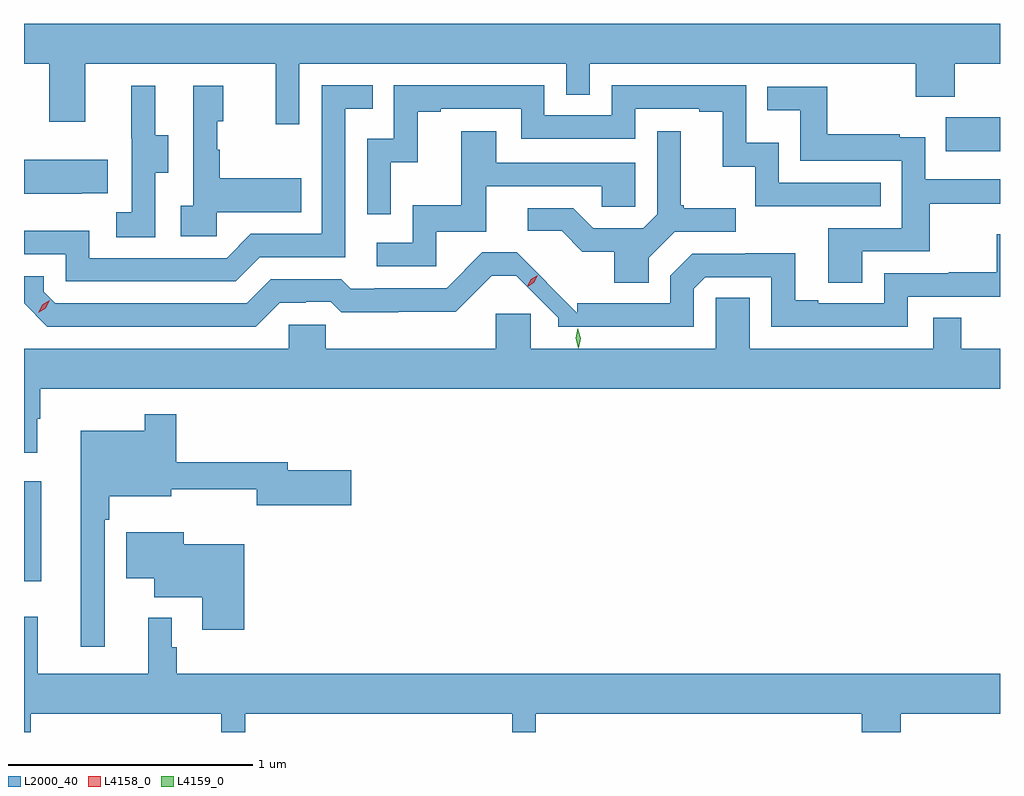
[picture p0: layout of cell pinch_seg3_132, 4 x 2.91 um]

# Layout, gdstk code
import gdstk
lib = gdstk.Library(unit=1e-6, precision=1e-09)
def R(c, l, rs):  # rectangles x0, y0, x1, y1
    for r in rs: c.add(gdstk.rectangle(r[:2], r[2:], *l))
def P(c, l, *ps):  # polygons
    for p in ps: c.add(gdstk.Polygon(p, *l))
L2000_40 = (2000, 40)
L4158_0 = (4158, 0)
L4159_0 = (4159, 0)

pinch_seg3_132 = lib.new_cell('pinch_seg3_132')
R(pinch_seg3_132, L2000_40, [(1127.205,708.119,1127.275,708.529)])
P(pinch_seg3_132, L2000_40, [(1128.333,710.24),(1129.428,710.24),(1129.428,710.113),(1129.524,710.113),(1129.524,710.24),(1130.86,710.24),(1130.86,710.105),(1131.02,710.105),(1131.02,710.24),(1131.205,710.24),(1131.205,710.404),(1127.205,710.404),(1127.205,710.24),(1127.308,710.24),(1127.308,710.001),(1127.455,710.001),(1127.455,710.24),(1128.236,710.24),(1128.236,709.992),(1128.333,709.992)],
  [(1128.172,709.446),(1128.522,709.446),(1128.522,710.055),(1128.635,710.055),(1128.635,710.151),(1128.426,710.151),(1128.426,709.542),(1128.135,709.542),(1128.036,709.443),(1127.472,709.443),(1127.472,709.555),(1127.205,709.555),(1127.205,709.458),(1127.376,709.458),(1127.376,709.347),(1128.073,709.347)],
  [(1128.708,709.835),(1128.818,709.835),(1128.818,710.043),(1128.913,710.043),(1128.913,710.055),(1129.242,710.055),(1129.242,709.932),(1129.71,709.932),(1129.71,710.055),(1129.973,710.055),(1129.973,710.043),(1130.069,710.043),(1130.069,709.817),(1130.202,709.817),(1130.202,709.656),(1130.717,709.656),(1130.717,709.752),(1130.298,709.752),(1130.298,709.915),(1130.166,709.915),(1130.166,710.151),(1129.614,710.151),(1129.614,710.028),(1129.338,710.028),(1129.338,710.151),(1128.72,710.151),(1128.72,709.932),(1128.612,709.932),(1128.612,709.623),(1128.708,709.623)],
  [(1127.742,709.792),(1127.797,709.792),(1127.797,709.947),(1127.743,709.947),(1127.743,710.149),(1127.645,710.149),(1127.645,709.935),(1127.646,709.935),(1127.646,709.631),(1127.583,709.631),(1127.583,709.528),(1127.742,709.528)],
  [(1127.994,709.631),(1128.341,709.631),(1128.341,709.771),(1128.007,709.771),(1128.007,709.886),(1127.997,709.886),(1127.997,710.004),(1128.022,710.004),(1128.022,710.149),(1127.898,710.149),(1127.898,709.658),(1127.847,709.658),(1127.847,709.533),(1127.994,709.533)],
  [(1130.641,709.47),(1130.918,709.47),(1130.918,709.666),(1131.205,709.666),(1131.205,709.767),(1130.898,709.767),(1130.898,709.939),(1130.795,709.939),(1130.795,709.951),(1130.497,709.951),(1130.497,710.145),(1130.251,710.145),(1130.251,710.048),(1130.386,710.048),(1130.386,709.842),(1130.802,709.842),(1130.802,709.566),(1130.501,709.566),(1130.501,709.342),(1130.641,709.342)],
  [(1131.197,709.881),(1131.205,709.881),(1131.205,710.02),(1130.983,710.02),(1130.983,709.88),(1131.197,709.88)],
  [(1129.765,709.444),(1129.872,709.551),(1130.122,709.551),(1130.122,709.648),(1129.909,709.648),(1129.909,709.66),(1129.897,709.66),(1129.897,709.963),(1129.8,709.963),(1129.8,709.623),(1129.743,709.566),(1129.537,709.566),(1129.456,709.647),(1129.269,709.647),(1129.269,709.554),(1129.408,709.554),(1129.493,709.469),(1129.625,709.469),(1129.625,709.342),(1129.765,709.342)],
  [(1128.894,709.551),(1129.099,709.551),(1129.099,709.737),(1129.573,709.737),(1129.573,709.653),(1129.71,709.653),(1129.71,709.833),(1129.141,709.833),(1129.141,709.963),(1128.997,709.963),(1128.997,709.66),(1128.798,709.66),(1128.798,709.506),(1128.651,709.506),(1128.651,709.41),(1128.894,709.41)],
  [(1127.441,709.709),(1127.549,709.709),(1127.549,709.846),(1127.205,709.846),(1127.205,709.706),(1127.441,709.706)],
  [(1128.253,709.26),(1128.36,709.26),(1128.36,709.263),(1128.463,709.263),(1128.505,709.221),(1128.738,709.221),(1128.738,709.223),(1128.975,709.223),(1129.123,709.371),(1129.222,709.371),(1129.395,709.198),(1129.395,709.161),(1129.95,709.161),(1129.95,709.317),(1129.998,709.365),(1130.268,709.365),(1130.268,709.161),(1130.826,709.161),(1130.826,709.284),(1131.205,709.284),(1131.205,709.54),(1131.192,709.54),(1131.192,709.385),(1130.995,709.385),(1130.995,709.38),(1130.73,709.38),(1130.73,709.257),(1130.461,709.257),(1130.461,709.27),(1130.365,709.27),(1130.365,709.463),(1130.16,709.463),(1130.16,709.461),(1129.944,709.461),(1129.854,709.371),(1129.854,709.257),(1129.473,709.257),(1129.473,709.217),(1129.224,709.466),(1129.083,709.466),(1128.937,709.32),(1128.643,709.32),(1128.643,709.317),(1128.544,709.317),(1128.505,709.356),(1128.216,709.356),(1128.117,709.257),(1127.334,709.257),(1127.286,709.305),(1127.286,709.368),(1127.205,709.368),(1127.205,709.257),(1127.301,709.161),(1128.154,709.161)],
  [(1127.26,708.785),(1127.272,708.785),(1127.272,708.908),(1131.205,708.908),(1131.205,709.072),(1131.047,709.072),(1131.047,709.199),(1130.931,709.199),(1130.931,709.072),(1130.179,709.072),(1130.179,709.28),(1130.04,709.28),(1130.04,709.072),(1129.281,709.072),(1129.281,709.215),(1129.139,709.215),(1129.139,709.072),(1128.441,709.072),(1128.441,709.17),(1128.291,709.17),(1128.291,709.072),(1127.205,709.072),(1127.205,708.645),(1127.26,708.645)],
  [(1127.535,708.371),(1127.555,708.371),(1127.555,708.467),(1127.809,708.467),(1127.809,708.496),(1128.158,708.496),(1128.158,708.431),(1128.547,708.431),(1128.547,708.573),(1128.286,708.573),(1128.286,708.607),(1127.828,708.607),(1127.828,708.802),(1127.7,708.802),(1127.7,708.736),(1127.438,708.736),(1127.438,707.85),(1127.535,707.85)],
  [(1128.107,708.271),(1127.86,708.271),(1127.86,708.319),(1127.624,708.319),(1127.624,708.131),(1127.738,708.131),(1127.738,708.053),(1127.936,708.053),(1127.936,707.919),(1128.107,707.919)],
  [(1127.233,707.576),(1128.014,707.576),(1128.014,707.499),(1128.111,707.499),(1128.111,707.576),(1129.206,707.576),(1129.206,707.499),(1129.302,707.499),(1129.302,707.576),(1130.638,707.576),(1130.638,707.499),(1130.798,707.499),(1130.798,707.576),(1131.205,707.576),(1131.205,707.74),(1127.831,707.74),(1127.831,707.847),(1127.811,707.847),(1127.811,707.968),(1127.714,707.968),(1127.714,707.74),(1127.261,707.74),(1127.261,707.974),(1127.205,707.974),(1127.205,707.499),(1127.233,707.499)])
P(pinch_seg3_132, L4158_0, [(1127.264,709.218),(1127.264,709.218),(1127.28,709.251),(1127.31,709.27),(1127.31,709.27),(1127.31,709.27),(1127.295,709.238),(1127.264,709.218)],
  [(1129.268,709.326),(1129.268,709.327),(1129.282,709.356),(1129.31,709.372),(1129.31,709.372),(1129.31,709.372),(1129.297,709.343),(1129.269,709.326)])
P(pinch_seg3_132, L4159_0, [(1129.477,709.074),(1129.477,709.075),(1129.466,709.115),(1129.475,709.155),(1129.475,709.155),(1129.475,709.155),(1129.486,709.115),(1129.478,709.075)])

lib.write_gds('pinch_seg3_132.gds')
